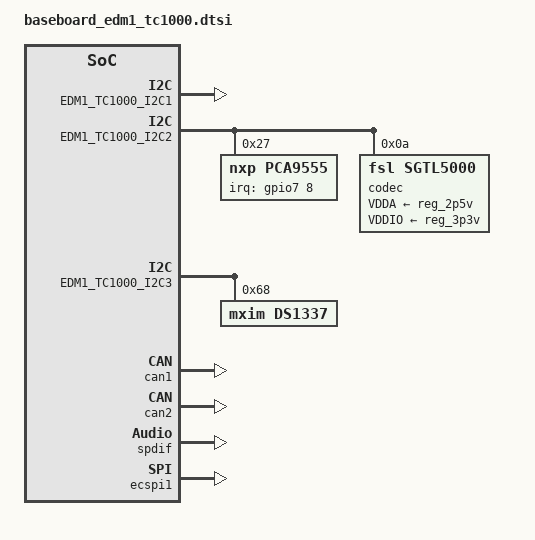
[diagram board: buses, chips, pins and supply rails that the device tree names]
/*
 * Copyright 2016 Technexion Ltd.
 *
 * Author: Alvin chen <alvin.chen@technexion.com>
 *
 * This program is free software; you can redistribute it and/or modify
 * it under the terms of the GNU General Public License version 2 as
 * published by the Free Software Foundation.
 *
 */

#include <tnmacro.h>

/ {
	gpio-edm {
		compatible = "gpio-edm";
/* custom GPIO may be from GPIO expander on CPU module */
#ifdef EDM_EXT_GPIO_IOMUX_TC1000
		pinctrl-names = "default";
		pinctrl-0 = <EDM_EXT_GPIO_IOMUX_TC1000>;
#endif
		gpio_p255 {
			label = "GPIO_P255";
			gpios = <&EDM_EXT_GPIO_P255 1>;
			dir   = "out";
		};
		gpio_p256 {
			label = "GPIO_P256";
			gpios = <&EDM_EXT_GPIO_P256 1>;
			dir   = "out";
		};
		gpio_p257 {
			label = "GPIO_P257";
			gpios = <&EDM_EXT_GPIO_P257 1>;
			dir   = "out";
		};
		gpio_p259 {
			label = "GPIO_P259";
			gpios = <&EDM_EXT_GPIO_P259 0>;
			dir   = "in";
		};
		gpio_p260 {
			label = "GPIO_P260";
			gpios = <&EDM_EXT_GPIO_P260 0>;
			dir   = "in";
		};
		gpio_p261 {
			label = "GPIO_P261";
			gpios = <&EDM_EXT_GPIO_P261 0>;
			dir   = "out";
		};
		gpio_p262 {
			label = "GPIO_P262";
			gpios = <&EDM_EXT_GPIO_P262 0>;
			dir   = "out";
		};
		gpio_exp0 {
			label = "GPIO_EXP0";
			gpios = <&EDM_EXT_GPIO_EXP0 0>;
			dir   = "out";
		};
		gpio_exp1 {
			label = "GPIO_EXP1";
			gpios = <&EDM_EXT_GPIO_EXP1 0>;
			dir   = "out";
		};
		gpio_exp2 {
			label = "GPIO_EXP2";
			gpios = <&EDM_EXT_GPIO_EXP2 0>;
			dir   = "in";
		};
		gpio_exp3 {
			label = "GPIO_EXP3";
			gpios = <&EDM_EXT_GPIO_EXP3 0>;
			dir   = "in";
		};
		gpio_exp4 {
			label = "GPIO_EXP4";
			gpios = <&EDM_EXT_GPIO_EXP4 0>;
			dir   = "out";
		};
		gpio_exp5 {
			label = "GPIO_EXP5";
			gpios = <&EDM_EXT_GPIO_EXP5 0>;
			dir   = "out";
		};
		gpio_exp6 {
			label = "GPIO_EXP6";
			gpios = <&EDM_EXT_GPIO_EXP6 0>;
			dir   = "in";
		};
		gpio_exp7 {
			label = "GPIO_EXP7";
			gpios = <&EDM_EXT_GPIO_EXP7 0>;
			dir   = "in";
		};
		gpio_exp8 {
			label = "GPIO_EXP8";
			gpios = <&EDM_EXT_GPIO_EXP8 0>;
			dir   = "out";
		};
		gpio_exp9 {
			label = "GPIO_EXP9";
			gpios = <&EDM_EXT_GPIO_EXP9 0>;
			dir   = "out";
		};
		gpio_exp10 {
			label = "GPIO_EXP10";
			gpios = <&EDM_EXT_GPIO_EXP10 0>;
			dir   = "in";
		};
		gpio_exp11 {
			label = "GPIO_EXP11";
			gpios = <&EDM_EXT_GPIO_EXP11 0>;
			dir   = "in";
		};
		lvds_power {
			label = "LVDS_PWR";
			gpios = <&EDM_EXT_LVDS_PWR 1>;
			dir   = "out";
		};
	};

	sound {
		compatible = "fsl,imx-sgtl5000",
			     "fsl,imx-audio-sgtl5000";
		model = "audio-sgtl5000";
		ssi-controller = <&EDM_AUD_I2S_CHANNEL>;
		audio-codec = <&codec>;
		audio-routing =
			"MIC_IN", "Mic Jack",
			"Mic Jack", "Mic Bias",
			"Headphone Jack", "HP_OUT";
#if defined(EDM_AUD_MUX_INT) && defined(EDM_AUD_MUX_EXT)
		mux-int-port = <EDM_AUD_MUX_INT>;
		mux-ext-port = <EDM_AUD_MUX_EXT>;
#else
	fsl,no-audmux = "true";
#endif
	};
};

&EDM1_TC1000_I2C1 {
	status = "okay";
};

&EDM1_TC1000_I2C2 {
	status = "okay";
	pca9555: pca9555@27 {
		compatible = "nxp,pca9555";
		pinctrl-names = "default";
#ifdef EDM1_EXT_PCA9555_IOMUX_TC1000
		pinctrl-0 = <EDM1_EXT_PCA9555_IOMUX_TC1000>;
#endif
		interrupt-parent = <&gpio7>;
		interrupts = <8 IRQ_TYPE_EDGE_FALLING>;
		gpio-controller;
		#gpio-cells = <2>;
		interrupt-controller;
		#interrupt-cells = <2>;
		reg = <0x27>;
	};

	codec: sgtl5000@0a {
		compatible = "fsl,sgtl5000";
		reg = <0x0a>;
		clocks = <&EDM_AUD_CLK_SRC>;
		VDDA-supply = <&reg_2p5v>;
		VDDIO-supply = <&reg_3p3v>;
	};
};

&EDM1_TC1000_I2C3 {
	status = "okay";
	ds1337: rtc@68 {
		compatible = "mxim,ds1337";
		reg = <0x68>;
	};
};

&can1 {
	status = "okay";
};

&can2 {
	status = "okay";
};

&spdif {
	status = "okay";
};

&ecspi1 {
	status = "okay";
};
